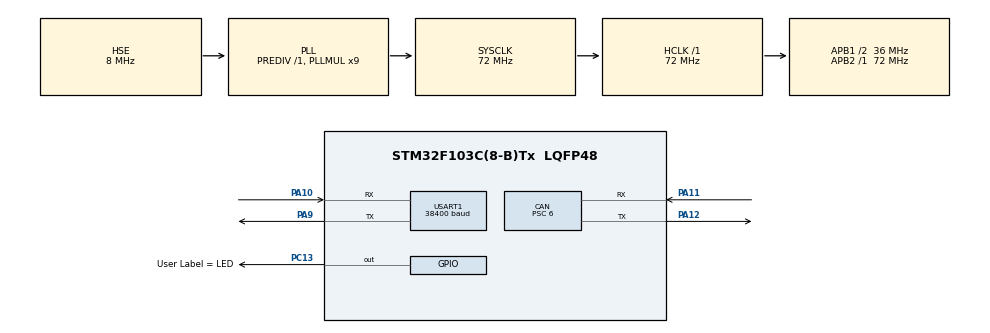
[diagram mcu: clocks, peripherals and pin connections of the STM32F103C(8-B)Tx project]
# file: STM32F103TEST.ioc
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CAN.BS1=CAN_BS1_7TQ
CAN.BS2=CAN_BS2_4TQ
CAN.CalculateBaudRate=499999
CAN.CalculateTimeBit=2000
CAN.CalculateTimeQuantum=166.66666666666669
CAN.Prescaler=6
Mcu.Family=STM32F1
Mcu.Name=STM32F103C(8-B)Tx
Mcu.Package=LQFP48
NVIC.PriorityGroup=NVIC_PRIORITYGROUP_4
NVIC.USB_LP_CAN1_RX0_IRQn=true\:0\:0\:false\:false\:true\:true\:true\:true
PA10.Mode=Asynchronous
PA10.Signal=USART1_RX
PA11.Mode=CAN_Activate
PA11.Signal=CAN_RX
PA12.Mode=CAN_Activate
PA12.Signal=CAN_TX
PA13.Mode=Serial_Wire
PA13.Signal=SYS_JTMS-SWDIO
PA14.Mode=Serial_Wire
PA14.Signal=SYS_JTCK-SWCLK
PA9.Mode=Asynchronous
PA9.Signal=USART1_TX
PC13-TAMPER-RTC.GPIO_Label=User Label \= LED
PC13-TAMPER-RTC.Signal=GPIO_Output
PD0-OSC_IN.Mode=HSE-External-Oscillator
PD0-OSC_IN.Signal=RCC_OSC_IN
PD1-OSC_OUT.Mode=HSE-External-Oscillator
PD1-OSC_OUT.Signal=RCC_OSC_OUT
ProjectManager.HeapSize=0x200
ProjectManager.StackSize=0x400
ProjectManager.TargetToolchain=MDK-ARM V5.32
RCC.AHBFreq_Value=72000000
RCC.APB1CLKDivider=RCC_HCLK_DIV2
RCC.APB1Freq_Value=36000000
RCC.APB1TimFreq_Value=72000000
RCC.APB2Freq_Value=72000000
RCC.APB2TimFreq_Value=72000000
RCC.HCLKFreq_Value=72000000
RCC.PLLMUL=RCC_PLL_MUL9
RCC.PLLSourceVirtual=RCC_PLLSOURCE_HSE
RCC.SYSCLKFreq_VALUE=72000000
RCC.SYSCLKSource=RCC_SYSCLKSOURCE_PLLCLK
RCC.USBFreq_Value=72000000
USART1.BaudRate=38400
USART1.VirtualMode=VM_ASYNC
board=custom

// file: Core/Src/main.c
/* USER CODE BEGIN Header */
/**
  ******************************************************************************
  * @file           : main.c
  * @brief          : Main program body
  ******************************************************************************
  * @attention
  *
  * Copyright (c) 2026 STMicroelectronic`s.
  * All rights reserved.
  *
  * This software is licensed under terms that can be found in the LICENSE file
  * in the root directory of this software component.
  * If no LICENSE file comes with this software, it is provided AS-IS.
  *
  ******************************************************************************
  */
/* USER CODE END Header */
#include "main.h"

/* USER CODE BEGIN Includes */
#include "servo42c.h" // 包含 42C 电机控制头文件
#include "pid.h"      // 包含 PID 控制器头文件
/* USER CODE END Includes */

CAN_HandleTypeDef hcan;

UART_HandleTypeDef huart1;

/* USER CODE BEGIN PV */
int32_t target_pos = 32768;    // 目标偏移（从回零点起）：输出 180°=8192 计数（实测减速比1:1）
float speed = 0.0f;           // 当前速度累加器
int32_t encoder_pos = 0;          // 编码器位置（提到全局，方便 watch 观察）
int32_t home_full = 0;      // 回零参考位置（按按键时记录的编码器完整位置）
uint8_t new_target_flag = 0;  // 目标标志位，1=收到新目标
#define HOME_BUTTON_Pin GPIO_PIN_0
#define HOME_BUTTON_GPIO_Port GPIOA
/* USER CODE END PV */

void SystemClock_Config(void);
static void MX_GPIO_Init(void);
static void MX_CAN_Init(void);
static void MX_USART1_UART_Init(void);

int main(void)
{

  /* MCU Configuration--------------------------------------------------------*/

  /* Reset of all peripherals, Initializes the Flash interface and the Systick. */
  HAL_Init();

  /* Configure the system clock */
  SystemClock_Config();

  /* Initialize all configured peripherals */
  MX_GPIO_Init();
  MX_CAN_Init();
  MX_USART1_UART_Init();
  /* USER CODE BEGIN 2 */

  CAN_FilterTypeDef sFilterConfig; // CAN 过滤器配置结构体
  sFilterConfig.FilterBank = 0; // 从 0 开始滤波器
  sFilterConfig.FilterMode = CAN_FILTERMODE_IDMASK; // 过滤器模式
  sFilterConfig.FilterScale = CAN_FILTERSCALE_32BIT; // 过滤器规模
  sFilterConfig.FilterIdHigh = 0x181 << 5; // 高ID字节
  sFilterConfig.FilterIdLow = 0x0000; // 低ID字节
  sFilterConfig.FilterMaskIdHigh = 0xFFFF; // 高掩码ID字节
  sFilterConfig.FilterMaskIdLow = 0x0000; // 低掩码ID字节
  sFilterConfig.FilterFIFOAssignment = CAN_RX_FIFO0; // FIFO 分配
  sFilterConfig.FilterActivation = ENABLE; // 过滤器激活
  sFilterConfig.SlaveStartFilterBank = 14; // 单 CAN 用不到，填 14

  HAL_CAN_ConfigFilter(&hcan, &sFilterConfig); // 配置 CAN 过滤器
  HAL_CAN_Start(&hcan); // 启动 CAN
  HAL_CAN_ActivateNotification(&hcan, CAN_IT_RX_FIFO0_MSG_PENDING); // 使能接收中断
  HAL_Delay(2000);   // 等 SERVO42C 启动 2 秒
  Servo_Enable(); // 使能 42C 电机

  // ===== 手动回零 =====
  // 上电后：手动把输出轴对齐到物理 0° 标记，然后按 PA0 按键（按下=低电平）
  while (HAL_GPIO_ReadPin(HOME_BUTTON_GPIO_Port, HOME_BUTTON_Pin) == GPIO_PIN_SET)
  {
      // 等待按键按下
  }
  HAL_Delay(50);          // 按键消抖
  encoder_pos = Servo_ReadEncoder();  // 读当前位置（作为 home 参考）
  if (encoder_pos < 0) encoder_pos = Servo_ReadEncoder();  // 失败重读一次
  home_full = encoder_pos;            // 记录 home 位置（完整多圈位置）
  new_target_flag = 1;    // 触发一次定位（回到 target_pos = 输出 180°）
IWDG->KR = 0x5555; // 使能 IWDG 写入
  IWDG->PR = 4; // 设置预分频器为 4
  IWDG->RLR = 1249; // 设置重装载寄存器为 1249
  IWDG->KR = 0xCCCC; // 启动独立看门狗
  /* USER CODE END 2 */

  /* Infinite loop */
  /* USER CODE BEGIN WHILE */
  while (1)
  {
    IWDG->KR = 0xAAAA; // 喂狗，防止看门狗复位

    /* 收到新目标标志 -> 执行一次定位 */
    if (new_target_flag == 1)
    {
        new_target_flag = 0;                  // 清标志
        encoder_pos = Servo_ReadEncoder();     // 读当前位置
        if (encoder_pos < 0) encoder_pos = Servo_ReadEncoder(); // 读失败重试一次
        int32_t delta_enc = (home_full + target_pos) - encoder_pos;   // 到目标的差值
        int32_t delta_step = delta_enc * 25 / 512;       // 换算成步数
        uint8_t dir = 1;                       // 拆符号
        if (delta_step < 0) { dir = 0; delta_step = -delta_step; }
        Servo_SetPosition(dir, 10, delta_step);  // 发定位指令
        HAL_Delay(500); // 等电机转完，避免运动期间读编码器打断定位
    }
     // HAL_GPIO_TogglePin(User_Label___LED_GPIO_Port, User_Label___LED_Pin); // LED 心跳暂时停用
     // HAL_Delay(500); // 拖慢 PID 循环，先去掉
    /* USER CODE END WHILE */

    /* USER CODE BEGIN 3 */
   // encoder_pos = Servo_ReadEncoder(); // 读取编码器值
   if (encoder_pos >= 0)
    {
       // HAL_GPIO_WritePin(User_Label___LED_GPIO_Port, User_Label___LED_Pin, GPIO_PIN_SET);   // 收到-> LED 亮
    }
    else
    {
       // HAL_GPIO_WritePin(User_Label___LED_GPIO_Port, User_Label___LED_Pin, GPIO_PIN_RESET); //没收到 -> LED 灭
    }
    uint8_t encoder_data[8] = {0};
    encoder_data[0] = (encoder_pos >> 24) & 0xFF; // 高位字节
    encoder_data[1] = (encoder_pos >> 16) & 0xFF; // 中位字节
    encoder_data[2] = (encoder_pos >> 8) & 0xFF; // 中位字节
    encoder_data[3] = encoder_pos & 0xFF; // 低位字节

    CAN_TxHeaderTypeDef tx_header;
    tx_header.StdId = 0x201; // 标准 ID
    tx_header.ExtId = 0;
    tx_header.IDE = CAN_ID_STD; // 标准 ID
    tx_header.RTR = CAN_RTR_DATA; // 数据帧
    tx_header.DLC = 4; // 数据长度
    tx_header.TransmitGlobalTime = DISABLE; // 不传输全局时间戳

    uint32_t tx_mailbox;
    HAL_CAN_AddTxMessage(&hcan, &tx_header, encoder_data, &tx_mailbox); // 发送 CAN 消息

    // 位置模式：定位交给 SERVO42C 内部闭环，MCU 只读位置反馈
    //（target 由 CAN 更新时，在这里重新调用 Servo_SetPosition）

    HAL_Delay(50); // 延时 50ms
  }
  /* USER CODE END 3 */
}

void SystemClock_Config(void)
{
  RCC_OscInitTypeDef RCC_OscInitStruct = {0};
  RCC_ClkInitTypeDef RCC_ClkInitStruct = {0};

  /** Initializes the RCC Oscillators according to the specified parameters
  * in the RCC_OscInitTypeDef structure.
  */
  RCC_OscInitStruct.OscillatorType = RCC_OSCILLATORTYPE_HSE;
  RCC_OscInitStruct.HSEState = RCC_HSE_ON;
  RCC_OscInitStruct.HSEPredivValue = RCC_HSE_PREDIV_DIV1;
  RCC_OscInitStruct.HSIState = RCC_HSI_ON;
  RCC_OscInitStruct.PLL.PLLState = RCC_PLL_ON;
  RCC_OscInitStruct.PLL.PLLSource = RCC_PLLSOURCE_HSE;
  RCC_OscInitStruct.PLL.PLLMUL = RCC_PLL_MUL9;
  if (HAL_RCC_OscConfig(&RCC_OscInitStruct) != HAL_OK)
  {
    Error_Handler();
  }

  /** Initializes the CPU, AHB and APB buses clocks
  */
  RCC_ClkInitStruct.ClockType = RCC_CLOCKTYPE_HCLK|RCC_CLOCKTYPE_SYSCLK
                              |RCC_CLOCKTYPE_PCLK1|RCC_CLOCKTYPE_PCLK2;
  RCC_ClkInitStruct.SYSCLKSource = RCC_SYSCLKSOURCE_PLLCLK;
  RCC_ClkInitStruct.AHBCLKDivider = RCC_SYSCLK_DIV1;
  RCC_ClkInitStruct.APB1CLKDivider = RCC_HCLK_DIV2;
  RCC_ClkInitStruct.APB2CLKDivider = RCC_HCLK_DIV1;

  if (HAL_RCC_ClockConfig(&RCC_ClkInitStruct, FLASH_LATENCY_2) != HAL_OK)
  {
    Error_Handler();
  }
}

static void MX_CAN_Init(void)
{

  hcan.Instance = CAN1;
  hcan.Init.Prescaler = 6;
  hcan.Init.Mode = CAN_MODE_NORMAL;
  hcan.Init.SyncJumpWidth = CAN_SJW_1TQ;
  hcan.Init.TimeSeg1 = CAN_BS1_7TQ;
  hcan.Init.TimeSeg2 = CAN_BS2_4TQ;
  hcan.Init.TimeTriggeredMode = DISABLE;
  hcan.Init.AutoBusOff = DISABLE;
  hcan.Init.AutoWakeUp = DISABLE;
  hcan.Init.AutoRetransmission = DISABLE;
  hcan.Init.ReceiveFifoLocked = DISABLE;
  hcan.Init.TransmitFifoPriority = DISABLE;
  if (HAL_CAN_Init(&hcan) != HAL_OK)
  {
    Error_Handler();
  }

}

static void MX_USART1_UART_Init(void)
{

  huart1.Instance = USART1;
  huart1.Init.BaudRate = 38400;
  huart1.Init.WordLength = UART_WORDLENGTH_8B;
  huart1.Init.StopBits = UART_STOPBITS_1;
  huart1.Init.Parity = UART_PARITY_NONE;
  huart1.Init.Mode = UART_MODE_TX_RX;
  huart1.Init.HwFlowCtl = UART_HWCONTROL_NONE;
  huart1.Init.OverSampling = UART_OVERSAMPLING_16;
  if (HAL_UART_Init(&huart1) != HAL_OK)
  {
    Error_Handler();
  }

}

static void MX_GPIO_Init(void)
{
  GPIO_InitTypeDef GPIO_InitStruct = {0};

  /* GPIO Ports Clock Enable */
  __HAL_RCC_GPIOC_CLK_ENABLE();
  __HAL_RCC_GPIOD_CLK_ENABLE();
  __HAL_RCC_GPIOA_CLK_ENABLE();

  /*Configure GPIO pin Output Level */
  HAL_GPIO_WritePin(User_Label___LED_GPIO_Port, User_Label___LED_Pin, GPIO_PIN_RESET);

  /*Configure GPIO pin : User_Label___LED_Pin */
  GPIO_InitStruct.Pin = User_Label___LED_Pin;
  GPIO_InitStruct.Mode = GPIO_MODE_OUTPUT_PP;
  GPIO_InitStruct.Pull = GPIO_NOPULL;
  GPIO_InitStruct.Speed = GPIO_SPEED_FREQ_LOW;
  HAL_GPIO_Init(User_Label___LED_GPIO_Port, &GPIO_InitStruct);

  /* USER CODE BEGIN MX_GPIO_Init_2 */
  /* 手动回零按键 PA0：输入+上拉（按键接 PA0 与 GND，按下为低电平） */
  GPIO_InitStruct.Pin = HOME_BUTTON_Pin;
  GPIO_InitStruct.Mode = GPIO_MODE_INPUT;
  GPIO_InitStruct.Pull = GPIO_PULLUP;
  HAL_GPIO_Init(HOME_BUTTON_GPIO_Port, &GPIO_InitStruct);

  /* USER CODE END MX_GPIO_Init_2 */
}

/* USER CODE BEGIN 4 */
void HAL_CAN_RxFifo0MsgPendingCallback(CAN_HandleTypeDef *hcan)
{
    CAN_RxHeaderTypeDef RxHeader;
    uint8_t RxData[8];

    HAL_CAN_GetRxMessage(hcan, CAN_RX_FIFO0, &RxHeader, RxData);

    target_pos = (RxData[0] << 24) | (RxData[1] << 16) | (RxData[2] << 8) | RxData[3]; // 收目标位置
    new_target_flag = 1;  // 置标志：有新目标来了
    // 处理接收到的CAN数据
    // 例如：根据RxHeader.StdId判断消息类型，并处理RxData中的数据
}
/* USER CODE END 4 */

void Error_Handler(void)
{
  __disable_irq();
  while (1)
  {
  }
}
